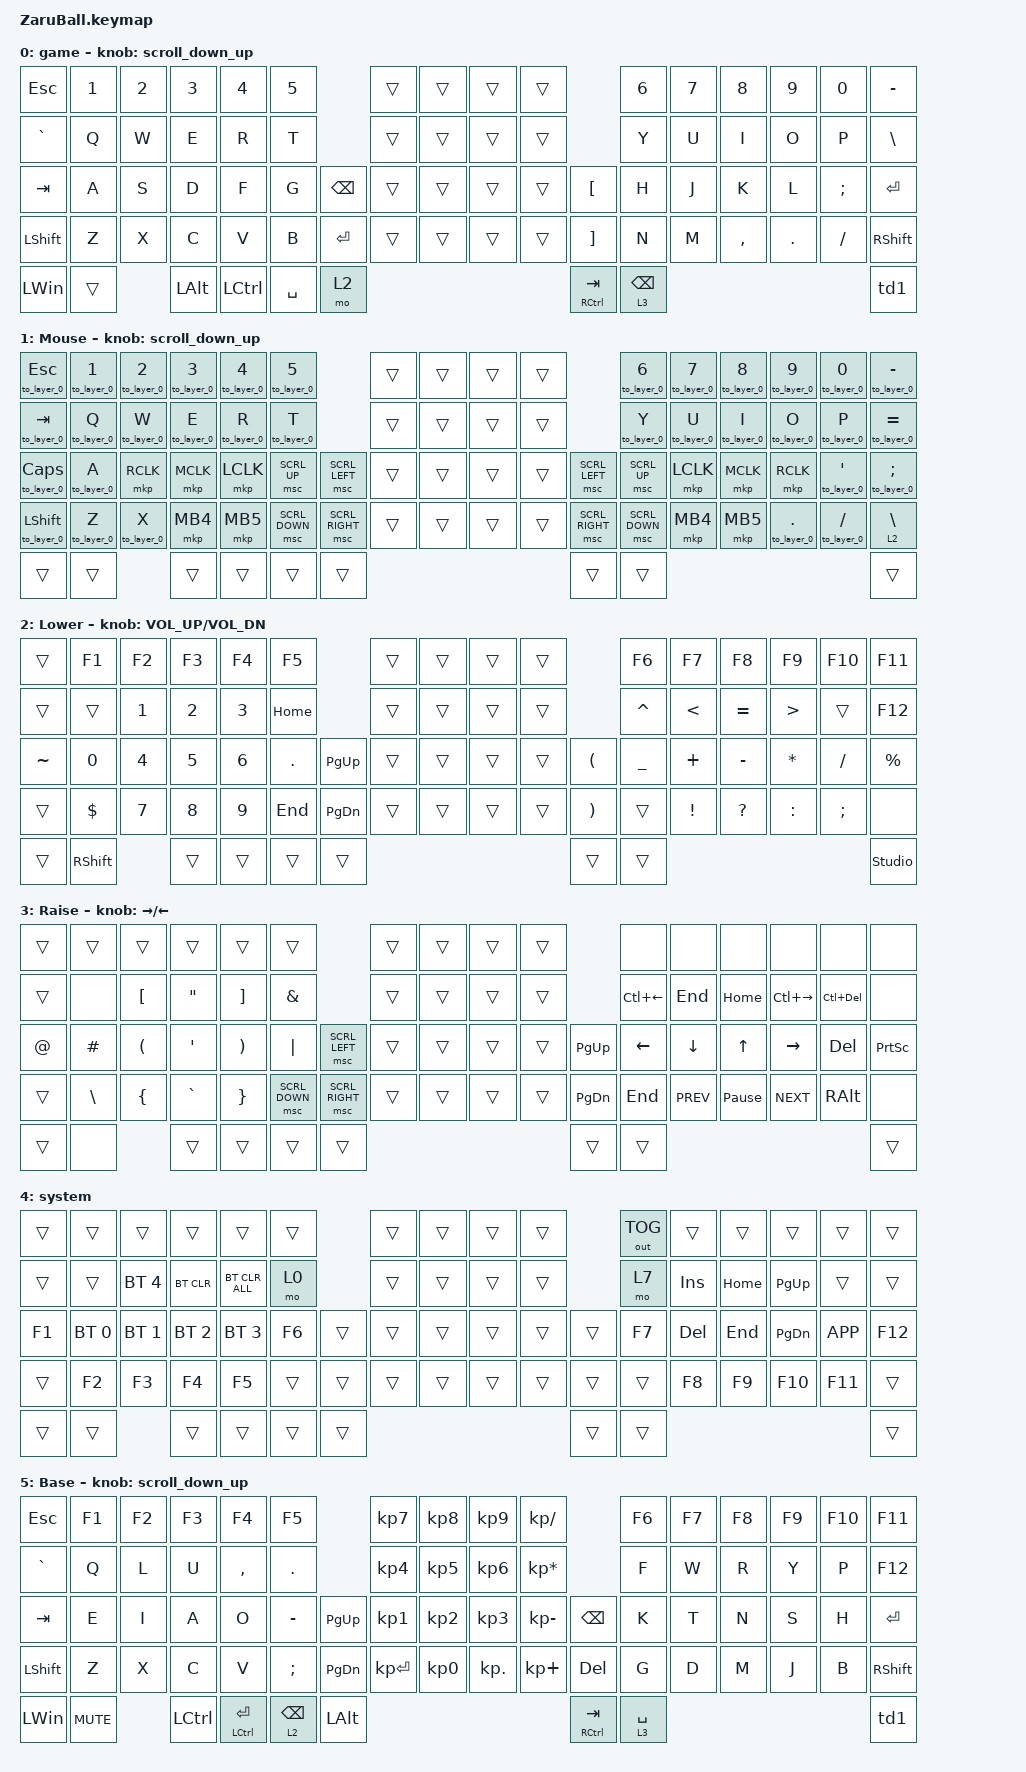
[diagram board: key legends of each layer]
//#include <dt-bindings/zmk/mouse.h>

#include <behaviors/rgbled_widget.dtsi>
#include <input/processors.dtsi>
#include <dt-bindings/zmk/input_transform.h>
#include <behaviors.dtsi>
#include <dt-bindings/zmk/bt.h>
#include <dt-bindings/zmk/keys.h>
#include <dt-bindings/zmk/outputs.h>
#include <dt-bindings/zmk/pointing.h>

#define BASE     0
#define MOUSE    1
#define LOWER    2
#define RAISE    3
#define ADJUST   4
#define SCROLL   2

// スクロール量の設定

#define ZMK_POINTING_DEFAULT_SCRL_VAL 100

&trackball_listener {
    input-processors = <
                         &zip_xy_transform (INPUT_TRANSFORM_XY_SWAP | INPUT_TRANSFORM_Y_INVERT | INPUT_TRANSFORM_X_INVERT)
                         &zip_temp_layer MOUSE 500
    >;

    scroller {
        layers = <SCROLL>;
        input-processors = <
                            &zip_xy_transform (INPUT_TRANSFORM_XY_SWAP | INPUT_TRANSFORM_X_INVERT)
                            &zip_xy_scaler 1 20
                            &zip_xy_to_scroll_mapper
        >;
    };
};

/ {
    conditional_layers {
        compatible = "zmk,conditional-layers";

        tri_layer {
            if-layers = <2 3>;
            then-layer = <4>;
        };
    };
};

/ {
    behaviors {
        // スクロール用のbehaviorの設定

        scroll_down_up: behavior_sensor_rotate_mouse_wheel_down_up {
            compatible = "zmk,behavior-sensor-rotate";
            #sensor-binding-cells = <0>;
            bindings = <&msc SCRL_DOWN>, <&msc SCRL_UP>;

            tap-ms = <20>; // スクロールのタップ時間
        };

        td0: tap_dance_0 {
            compatible = "zmk,behavior-tap-dance";
            #binding-cells = <0>;
            tapping-term-ms = <200>;
            bindings = <&mt LALT LANG2>, <&mo 3>, <&mo 7>;
        };

        td1: tap_dance_1 {
            compatible = "zmk,behavior-tap-dance";
            #binding-cells = <0>;
            tapping-term-ms = <200>;
            bindings = <&to 0>, <&to 7>;
        };

        // Customed Hold-Tap for SandS

        slayer: slayer {
            compatible = "zmk,behavior-tap-dance";
            label = "SLAYER";
            #binding-cells = <0>;
            bindings = <&kp LEFT_SHIFT>, <&mo 2>;

            tapping-term-ms = <100>;
        };

        CandL: CandL {
            compatible = "zmk,behavior-tap-dance";
            label = "CANDL";
            #binding-cells = <0>;
            bindings = <&kp RIGHT_CONTROL>, <&mo 2>;
        };
    };
};

&sl { release-after-ms = <250>; }; // time needed for double click (for mkp_exit_AML)
/ {
    macros {
        // When in AML, move to default layer when key (except mouse button) pressed

        to_layer_0: to_layer_0 {
            compatible = "zmk,behavior-macro-one-param";
            #binding-cells = <1>;
            bindings = <&tog 7 &macro_param_1to1 &kp MACRO_PLACEHOLDER>;
            label = "TO_layer_0";
        };

        // When LCLK pressed, exit AML (after 250ms cause by sticky layer

        mkp_exit_AML: mkp_exit_AML {
            compatible = "zmk,behavior-macro-one-param";
            #binding-cells = <1>;
            bindings =
                <&macro_press>,
                <&macro_param_1to1 &mkp MACRO_PLACEHOLDER>,
                <&macro_pause_for_release>,
                <&macro_release>,
                <&macro_param_1to1 &mkp MACRO_PLACEHOLDER>,
                <&macro_tap>,
                <&sl 7>;

            label = "MKP_EXIT_AML";
        };
    };
};

/ {
    combos {
        compatible = "zmk,combos";

        JP {
            bindings = <&kp LA(GRAVE)>;
            key-positions = <36 35>;
            timeout-ms = <20>;
        };

        EN {
            bindings = <&kp RA(GRAVE)>;
            key-positions = <45 46>;
            timeout-ms = <20>;
        };

        single {
            bindings = <&kp SINGLE_QUOTE>;
            key-positions = <75 48>;
        };

        studiounlock {
            bindings = <&studio_unlock>;
            key-positions = <51 52 53 54>;
        };
    };

    keymap {
        compatible = "zmk,keymap";

        game {
            bindings = <
&kp ESCAPE      &kp NUMBER_1  &kp NUMBER_2  &kp NUMBER_3  &kp NUMBER_4      &kp NUMBER_5                   &trans  &trans  &trans  &trans                       &kp NUMBER_6     &kp N7  &kp N8     &kp N9      &kp N0     &kp MINUS
&kp GRAVE       &kp Q         &kp W         &kp E         &kp R             &kp T                          &trans  &trans  &trans  &trans                       &kp Y            &kp U   &kp I      &kp O       &kp P      &kp BACKSLASH
&kp TAB         &kp A         &kp S         &kp D         &kp F             &kp G         &kp BACKSPACE    &trans  &trans  &trans  &trans    &kp LEFT_BRACKET   &kp H            &kp J   &kp K      &kp L       &kp SEMI   &kp ENTER
&kp LEFT_SHIFT  &kp Z         &kp X         &kp C         &kp V             &kp B         &kp ENTER        &trans  &trans  &trans  &trans    &kp RIGHT_BRACKET  &kp N            &kp M   &kp COMMA  &kp PERIOD  &kp SLASH  &kp RIGHT_SHIFT
&kp LEFT_WIN    &trans                      &kp LEFT_ALT  &kp LEFT_CONTROL  &kp SPACE     &mo 2                                              &mt RCTRL TAB      &lt 3 BACKSPACE                                            &td1
            >;

            sensor-bindings = <&scroll_down_up>;
        };

        mouse_layer {
            display-name = "Mouse";
            sensor-bindings = <&scroll_down_up>;
            bindings = <
&to_layer_0 ESC     &to_layer_0 N1  &to_layer_0 N2  &to_layer_0 N3  &to_layer_0 N4  &to_layer_0 N5                     &trans  &trans  &trans  &trans                     &to_layer_0 N6  &to_layer_0 N7  &to_layer_0 N8  &to_layer_0 N9      &to_layer_0 N0            &to_layer_0 MINUS
&to_layer_0 TAB     &to_layer_0 Q   &to_layer_0 W   &to_layer_0 E   &to_layer_0 R   &to_layer_0 T                      &trans  &trans  &trans  &trans                     &to_layer_0 Y   &to_layer_0 U   &to_layer_0 I   &to_layer_0 O       &to_layer_0 P             &to_layer_0 EQUAL
&to_layer_0 CAPS    &to_layer_0 A   &mkp RCLK       &mkp MCLK       &mkp LCLK       &msc SCRL_UP    &msc SCRL_LEFT     &trans  &trans  &trans  &trans    &msc SCRL_LEFT   &msc SCRL_UP    &mkp LCLK       &mkp MCLK       &mkp RCLK           &to_layer_0 SINGLE_QUOTE  &to_layer_0 SEMICOLON
&to_layer_0 LSHIFT  &to_layer_0 Z   &to_layer_0 X   &mkp MB4        &mkp MB5        &msc SCRL_DOWN  &msc SCRL_RIGHT    &trans  &trans  &trans  &trans    &msc SCRL_RIGHT  &msc SCRL_DOWN  &mkp MB4        &mkp MB5        &to_layer_0 PERIOD  &to_layer_0 SLASH         &lt 2 BACKSLASH
&trans              &trans                          &trans          &trans          &trans          &trans                                               &trans           &trans                                                                                        &trans
            >;
        };

        math {
            display-name = "Lower";
            sensor-bindings = <&inc_dec_kp C_VOL_UP C_VOL_DN>;
            bindings = <
&trans     &kp F1        &kp F2        &kp F3        &kp F4        &kp F5                   &trans  &trans  &trans  &trans              &kp F6          &kp F7           &kp F8        &kp F9            &kp F10        &kp F11
&trans     &trans        &kp NUMBER_1  &kp NUMBER_2  &kp NUMBER_3  &kp HOME                 &trans  &trans  &trans  &trans              &kp CARET       &kp LESS_THAN    &kp EQUAL     &kp GREATER_THAN  &trans         &kp F12
&kp TILDE  &kp NUMBER_0  &kp NUMBER_4  &kp NUMBER_5  &kp NUMBER_6  &kp PERIOD  &kp PG_UP    &trans  &trans  &trans  &trans    &kp LPAR  &kp UNDERSCORE  &kp PLUS         &kp MINUS     &kp ASTERISK      &kp SLASH      &kp PERCENT
&trans     &kp DOLLAR    &kp NUMBER_7  &kp NUMBER_8  &kp NUMBER_9  &kp END     &kp PG_DN    &trans  &trans  &trans  &trans    &kp RPAR  &trans          &kp EXCLAMATION  &kp QUESTION  &kp COLON         &kp SEMICOLON  &none
&trans     &kp RSHFT                   &trans        &trans        &trans      &trans                                         &trans    &trans                                                                          &studio_unlock
            >;
        };

        navi {
            display-name = "Raise";
            sensor-bindings = <&inc_dec_kp RIGHT LEFT>;
            bindings = <
&trans       &trans         &trans                &trans             &trans                 &trans                             &trans  &trans  &trans  &trans                 &none         &none       &none            &none          &none           &none
&trans       &none          &kp LEFT_BRACKET      &kp DOUBLE_QUOTES  &kp RIGHT_BRACKET      &kp AMPERSAND                      &trans  &trans  &trans  &trans                 &kp LC(LEFT)  &kp END     &kp HOME         &kp LC(RIGHT)  &kp LC(DELETE)  &none
&kp AT_SIGN  &kp HASH       &kp LEFT_PARENTHESIS  &kp SINGLE_QUOTE   &kp RIGHT_PARENTHESIS  &kp PIPE        &msc SCRL_LEFT     &trans  &trans  &trans  &trans    &kp PAGE_UP  &kp LEFT      &kp DOWN    &kp UP           &kp RIGHT      &kp DELETE      &kp PRINTSCREEN
&trans       &kp BACKSLASH  &kp LEFT_BRACE        &kp GRAVE          &kp RIGHT_BRACE        &msc SCRL_DOWN  &msc SCRL_RIGHT    &trans  &trans  &trans  &trans    &kp PG_DN    &kp END       &kp C_PREV  &kp PAUSE_BREAK  &kp C_NEXT     &kp RIGHT_ALT   &none
&trans       &none                                &trans             &trans                 &trans          &trans                                               &trans       &trans                                                                    &trans
            >;
        };

        system {
            bindings = <
&trans  &trans        &trans        &trans        &trans          &trans            &trans  &trans  &trans  &trans            &out OUT_TOG  &trans      &trans    &trans         &trans     &trans
&trans  &trans        &bt BT_SEL 4  &bt BT_CLR    &bt BT_CLR_ALL  &mo 0             &trans  &trans  &trans  &trans            &mo 7         &kp INSERT  &kp HOME  &kp PAGE_UP    &trans     &trans
&kp F1  &bt BT_SEL 0  &bt BT_SEL 1  &bt BT_SEL 2  &bt BT_SEL 3    &kp F6  &trans    &trans  &trans  &trans  &trans    &trans  &kp F7        &kp DELETE  &kp END   &kp PAGE_DOWN  &kp K_APP  &kp F12
&trans  &kp F2        &kp F3        &kp F4        &kp F5          &trans  &trans    &trans  &trans  &trans  &trans    &trans  &trans        &kp F8      &kp F9    &kp F10        &kp F11    &trans
&trans  &trans                      &trans        &trans          &trans  &trans                                      &trans  &trans                                                        &trans
            >;
        };

        extra1 { status = "reserved"; };

        extra2 { status = "reserved"; };

        base_layer {
            display-name = "Base";
            sensor-bindings = <&scroll_down_up>;
            bindings = <
&kp ESC       &kp F1      &kp F2  &kp F3            &kp F4           &kp F5                            &kp KP_N7     &kp KP_N8  &kp KP_N9   &kp KP_DIVIDE                             &kp F6       &kp F7  &kp F8  &kp F9  &kp F10  &kp F11
&kp GRAVE     &kp Q       &kp L   &kp U             &kp COMMA        &kp PERIOD                        &kp KP_N4     &kp KP_N5  &kp KP_N6   &kp KP_MULTIPLY                           &kp F        &kp W   &kp R   &kp Y   &kp P    &kp F12
&kp TAB       &kp E       &kp I   &kp A             &kp O            &kp MINUS        &kp PAGE_UP      &kp KP_N1     &kp KP_N2  &kp KP_N3   &kp KP_MINUS       &kp BACKSPACE          &kp K        &kp T   &kp N   &kp S   &kp H    &kp ENTER
&kp LSHFT     &kp Z       &kp X   &kp C             &kp V            &kp SEMICOLON    &kp PAGE_DOWN    &kp KP_ENTER  &kp KP_N0  &kp KP_DOT  &kp KP_PLUS        &kp DEL                &kp G        &kp D   &kp M   &kp J   &kp B    &kp RIGHT_SHIFT
&kp LEFT_WIN  &kp C_MUTE          &kp LEFT_CONTROL  &mt LCTRL ENTER  &lt 2 BACKSPACE  &kp LEFT_ALT                                                             &mt RIGHT_CONTROL TAB  &lt 3 SPACE                                   &td1
            >;
        };
    };
};
